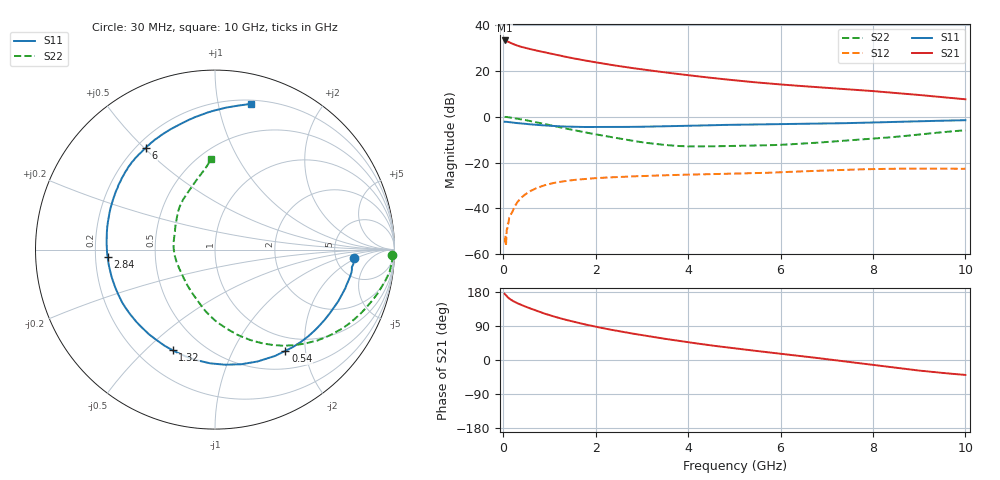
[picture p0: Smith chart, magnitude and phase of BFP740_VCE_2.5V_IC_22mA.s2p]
! Infineon Technologies  Discrete & RF Semiconductors
! BFP740
! VCE =  2.5 V,  IC =  22 mA
! Common Emitter S-Parameters:  Jan 2016
# GHz  S  MA  R  50
!  f  S11  S21  S12  S22
! GHz  MAG  ANG  MAG  ANG  MAG  ANG  MAG  ANG
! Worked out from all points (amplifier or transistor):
!   229 points, 30 MHz to 10 GHz, reference 50 ohm
!   highest |S21| = 33.2 dB at 30 MHz (marker M1)
!   |S21| within 3 dB of that: start of sweep to 431.2 MHz
!   unconditionally stable (mu >= 1): 6.191 GHz to end of sweep
!   at 280 MHz: K = 0.24, MSG = 34.7 dB, |S12| = -38.1 dB
!   at 1.78 GHz: K = 0.46, MSG = 25.8 dB, |S12| = -27.2 dB
!   at 10 GHz: K = 1.02, MAG = 14.3 dB, |S12| = -22.7 dB
!   S11 on the Smith chart (normalised r, x): 30 MHz: 7.49, -1.78; 540 MHz: 0.77, -1.64; 1.32 GHz: 0.34, -0.61; 2.84 GHz: 0.25, -0.03; 6 GHz: 0.24, +0.51; 10 GHz: 0.23, +1.25
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0.03  0.7759 -3.5  45.88 174.8  0.0018 92.8  0.9872 -1.8
0.05  0.7752 -5.9  45.61 172.1  0.0026 92.7  0.9885 -3.8
0.07  0.7712 -8.4  44.77 169.1  0.003 102.6  0.9851 -5.4
0.11  0.7626 -13.2  43.03 164.3  0.0047 85.4  0.9735 -8.7
0.15  0.7546 -17.6  41.04 160.4  0.0069 81.7  0.957 -11.6
0.2  0.7446 -22.8  38.88 156.4  0.0085 76.9  0.9398 -14.9
0.36  0.7157 -38.7  34 147.0  0.0158 70.8  0.8833 -24.2
0.54  0.6868 -55.2  30.49 138.2  0.0223 62.8  0.8199 -33.6
0.7  0.6669 -69.2  27.98 130.8  0.0271 57.3  0.7637 -41.5
0.9  0.6436 -85.1  25.27 122.2  0.032 50.8  0.6913 -50.4
1.1  0.6249 -99.1  22.79 114.7  0.036 44.9  0.6248 -58.4
1.32  0.6085 -112.9  20.47 107.2  0.039 39.9  0.5602 -66.1
1.7  0.5957 -133.1  17.29 95.8  0.0432 33.2  0.4689 -78.0
2.22  0.594 -155.2  14.04 82.5  0.047 26.5  0.3759 -93.2
2.84  0.6 -176.2  11.31 68.9  0.0501 21.0  0.2932 -110.9
3.4  0.6135 168.1  9.514 57.8  0.0523 17.1  0.248 -129.8
4.2  0.6402 149.7  7.598 43.5  0.055 12.6  0.2244 -158.8
5.1  0.6689 134.9  6.073 29.3  0.0576 8.9  0.2313 176.1
6  0.6853 124.3  5.04 16.6  0.0613 6.1  0.2435 157.0
6.8  0.7048 115.0  4.391 5.2  0.066 2.1  0.271 142.4
8.4  0.7648 93.1  3.349 -19.0  0.0731 -8.8  0.3559 114.5
10  0.8371 76.0  2.393 -39.4  0.0731 -18.2  0.5063 92.3
